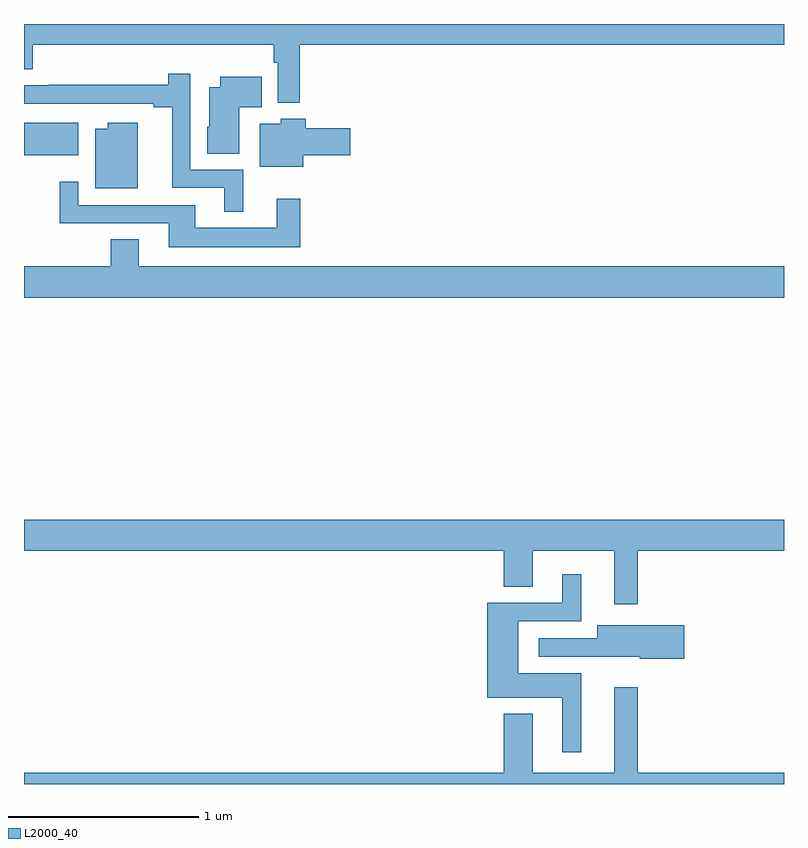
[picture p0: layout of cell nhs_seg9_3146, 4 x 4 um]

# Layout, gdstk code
import gdstk
lib = gdstk.Library(unit=1e-6, precision=1e-09)
def R(c, l, rs):  # rectangles x0, y0, x1, y1
    for r in rs: c.add(gdstk.rectangle(r[:2], r[2:], *l))
def P(c, l, *ps):  # polygons
    for p in ps: c.add(gdstk.Polygon(p, *l))
L2000_40 = (2000, 40)

nhs_seg9_3146 = lib.new_cell('nhs_seg9_3146')
R(nhs_seg9_3146, L2000_40, [(291,1223.81,291.286,1223.98)])
P(nhs_seg9_3146, L2000_40, [(292.451,1224.392),(295,1224.392),(295,1224.5),(291,1224.5),(291,1224.262),(291.047,1224.262),(291.047,1224.392),(292.315,1224.392),(292.315,1224.296),(292.335,1224.296),(292.335,1224.086),(292.451,1224.086)],
  [(292.153,1223.733),(291.876,1223.733),(291.876,1224.238),(291.76,1224.238),(291.76,1224.179),(291.13,1224.179),(291.13,1224.177),(291,1224.177),(291,1224.081),(291.683,1224.081),(291.683,1224.061),(291.779,1224.061),(291.779,1223.637),(292.055,1223.637),(292.055,1223.513),(292.153,1223.513)],
  [(292.132,1224.062),(292.25,1224.062),(292.25,1224.223),(292.034,1224.223),(292.034,1224.166),(291.974,1224.166),(291.974,1223.958),(291.965,1223.958),(291.965,1223.818),(292.132,1223.818)],
  [(292.471,1223.81),(292.717,1223.81),(292.717,1223.952),(292.484,1223.952),(292.484,1224.001),(292.35,1224.001),(292.35,1223.974),(292.241,1223.974),(292.241,1223.75),(292.471,1223.75)],
  [(291.598,1223.98),(291.44,1223.98),(291.44,1223.95),(291.374,1223.95),(291.374,1223.636),(291.598,1223.636)],
  [(292.453,1223.581),(292.331,1223.581),(292.331,1223.428),(291.901,1223.428),(291.901,1223.547),(291.285,1223.547),(291.285,1223.671),(291.188,1223.671),(291.188,1223.451),(291.761,1223.451),(291.761,1223.324),(292.453,1223.324)],
  [(295,1223.224),(291.604,1223.224),(291.604,1223.366),(291.457,1223.366),(291.457,1223.224),(291,1223.224),(291,1223.06),(295,1223.06)],
  [(294.229,1221.728),(295,1221.728),(295,1221.892),(291,1221.892),(291,1221.728),(293.525,1221.728),(293.525,1221.538),(293.677,1221.538),(293.677,1221.728),(294.107,1221.728),(294.107,1221.447),(294.229,1221.447)],
  [(293.932,1221.082),(293.602,1221.082),(293.602,1221.357),(293.932,1221.357),(293.932,1221.604),(293.834,1221.604),(293.834,1221.453),(293.438,1221.453),(293.438,1220.954),(293.834,1220.954),(293.834,1220.667),(293.932,1220.667)],
  [(294.475,1221.336),(294.017,1221.336),(294.017,1221.267),(293.709,1221.267),(293.709,1221.171),(294.021,1221.171),(294.021,1221.17),(294.24,1221.17),(294.24,1221.158),(294.475,1221.158)],
  [(295,1220.56),(294.229,1220.56),(294.229,1221.01),(294.107,1221.01),(294.107,1220.56),(293.677,1220.56),(293.677,1220.869),(293.525,1220.869),(293.525,1220.56),(291,1220.56),(291,1220.5),(295,1220.5)])

lib.write_gds('nhs_seg9_3146.gds')
